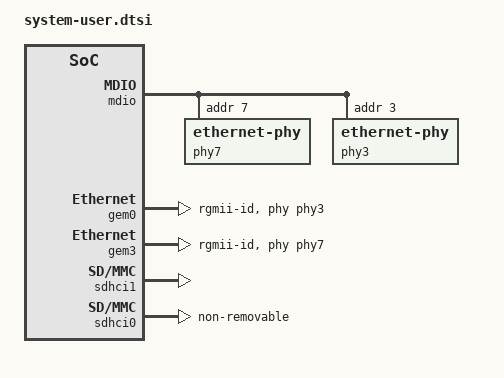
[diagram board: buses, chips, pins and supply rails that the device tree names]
/include/ "system-conf.dtsi"
/ {
	chosen {
		bootargs = "earlycon earlyprintk clk_ignore_unused root=/dev/ram rw cma=256M";
		stdout-path = "serial0:115200n8";
	};
	mdio {
		compatible = "cdns,macb-mdio";
		reg = <0x0 0xff0b0000 0x0 0x1000>;
		clocks =  <&clk 45>, <&clk 45>, <&clk 49>;
		clock-names = "pclk", "tx_clk", "hclk";
		#address-cells = <1>;
		#size-cells = <0>;
		phy7: ethernet-phy@7 {
			reg = <7>;
			txc-skew-ps = <1800>;
			txen-skew-ps = <420>;
			txd0-skew-ps = <420>;
			txd1-skew-ps = <420>;
			txd2-skew-ps = <420>;
			txd3-skew-ps = <420>;
			rxc-skew-ps = <900>;
			rxdv-skew-ps = <420>;
			rxd0-skew-ps = <420>;
			rxd1-skew-ps = <420>;
			rxd2-skew-ps = <420>;
			rxd3-skew-ps = <420>;
		};
		phy3: ethernet-phy@3 {
			reg = <3>;
			txc-skew-ps = <1800>;
			txen-skew-ps = <420>;
			txd0-skew-ps = <420>;
			txd1-skew-ps = <420>;
			txd2-skew-ps = <420>;
			txd3-skew-ps = <420>;
			rxc-skew-ps = <900>;
			rxdv-skew-ps = <420>;
			rxd0-skew-ps = <420>;
			rxd1-skew-ps = <420>;
			rxd2-skew-ps = <420>;
			rxd3-skew-ps = <420>;
		};
	};
};

&gem0 {
	status = "okay";
	local-mac-address = [00 0a 35 00 02 90];
	phy-mode = "rgmii-id";
	phy-handle = <&phy3>;
};

&gem3 {
	status = "okay";
	local-mac-address = [00 0a 35 00 02 91];
	phy-mode = "rgmii-id";
	phy-handle = <&phy7>;
};


&sdhci1 {
	status = "okay";
	no-1-8-v;	/* for 1.0 silicon */
	disable-wp; /*wp-inverted;*/
	xlnx,mio_bank = <1>;
};

&sdhci0 {
	status = "okay";
	no-1-8-v;	/* for 1.0 silicon */
	non-removable;
	disable-wp;
	xlnx,mio_bank = <0>;
};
